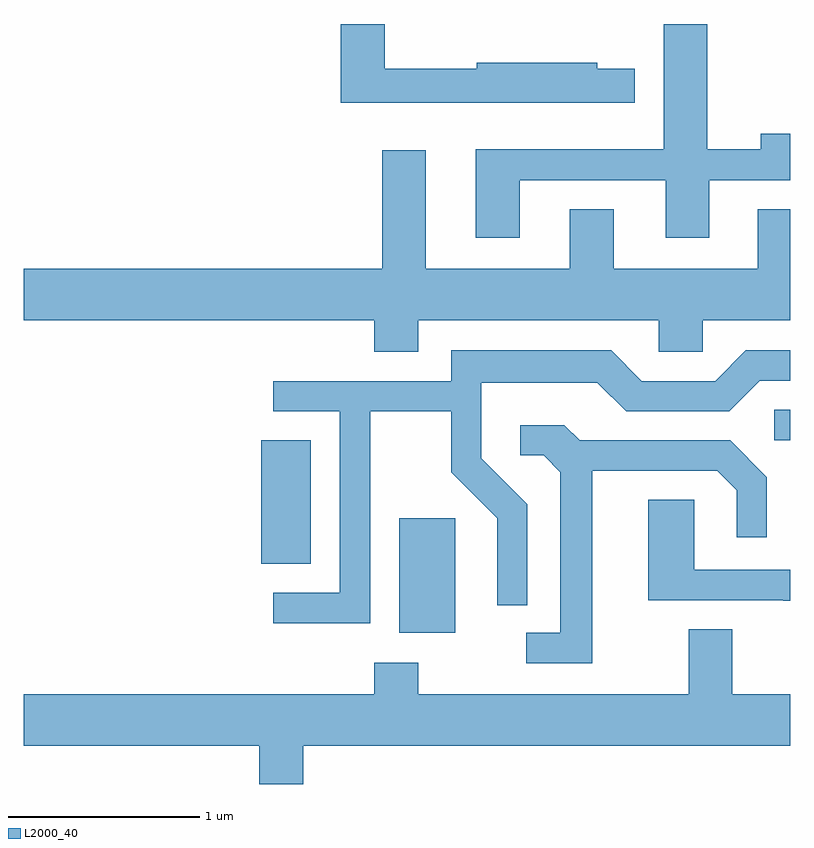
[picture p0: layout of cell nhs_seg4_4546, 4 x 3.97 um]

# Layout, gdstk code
import gdstk
lib = gdstk.Library(unit=1e-6, precision=1e-09)
def R(c, l, rs):  # rectangles x0, y0, x1, y1
    for r in rs: c.add(gdstk.rectangle(r[:2], r[2:], *l))
def P(c, l, *ps):  # polygons
    for p in ps: c.add(gdstk.Polygon(p, *l))
L2000_40 = (2000, 40)

nhs_seg4_4546 = lib.new_cell('nhs_seg4_4546')
R(nhs_seg4_4546, L2000_40, [(319.571,1370.806,319.864,1371.404), (318.851,1371.166,319.109,1371.809), (321.528,1371.811,321.611,1371.969)])
P(nhs_seg4_4546, L2000_40, [(320.799,1373.749),(320.604,1373.749),(320.604,1373.779),(319.976,1373.779),(319.976,1373.749),(319.494,1373.749),(319.494,1373.982),(319.266,1373.982),(319.266,1373.571),(320.799,1373.571)],
  [(320.199,1373.166),(320.961,1373.166),(320.961,1372.866),(321.189,1372.866),(321.189,1373.166),(321.611,1373.166),(321.611,1373.409),(321.456,1373.409),(321.456,1373.329),(321.179,1373.329),(321.179,1373.982),(320.951,1373.982),(320.951,1373.329),(319.971,1373.329),(319.971,1372.866),(320.199,1372.866)],
  [(319.669,1372.436),(320.926,1372.436),(320.926,1372.271),(321.154,1372.271),(321.154,1372.436),(321.611,1372.436),(321.611,1373.014),(321.441,1373.014),(321.441,1372.704),(320.689,1372.704),(320.689,1373.014),(320.461,1373.014),(320.461,1372.704),(319.709,1372.704),(319.709,1373.324),(319.481,1373.324),(319.481,1372.704),(317.611,1372.704),(317.611,1372.436),(319.441,1372.436),(319.441,1372.271),(319.669,1372.271)],
  [(319.419,1371.961),(319.841,1371.961),(319.841,1371.644),(320.081,1371.404),(320.081,1370.948),(320.239,1370.948),(320.239,1371.477),(319.999,1371.717),(319.999,1372.111),(320.604,1372.111),(320.754,1371.961),(321.292,1371.961),(321.452,1372.121),(321.611,1372.121),(321.611,1372.279),(321.379,1372.279),(321.219,1372.119),(320.837,1372.119),(320.677,1372.279),(319.841,1372.279),(319.841,1372.119),(318.913,1372.119),(318.913,1371.961),(319.261,1371.961),(319.261,1371.014),(318.913,1371.014),(318.913,1370.856),(319.419,1370.856)],
  [(320.579,1371.651),(321.229,1371.651),(321.331,1371.549),(321.331,1371.303),(321.489,1371.303),(321.489,1371.617),(321.297,1371.809),(320.512,1371.809),(320.432,1371.889),(320.203,1371.889),(320.203,1371.731),(320.324,1371.731),(320.411,1371.644),(320.411,1370.804),(320.233,1370.804),(320.233,1370.646),(320.579,1370.646)],
  [(321.611,1371.134),(321.109,1371.134),(321.109,1371.499),(320.871,1371.499),(320.871,1370.976),(321.575,1370.976),(321.575,1370.971),(321.611,1370.971)],
  [(319.069,1370.216),(321.611,1370.216),(321.611,1370.484),(321.309,1370.484),(321.309,1370.824),(321.081,1370.824),(321.081,1370.484),(319.669,1370.484),(319.669,1370.649),(319.441,1370.649),(319.441,1370.484),(317.611,1370.484),(317.611,1370.216),(318.841,1370.216),(318.841,1370.016),(319.069,1370.016)])

lib.write_gds('nhs_seg4_4546.gds')
